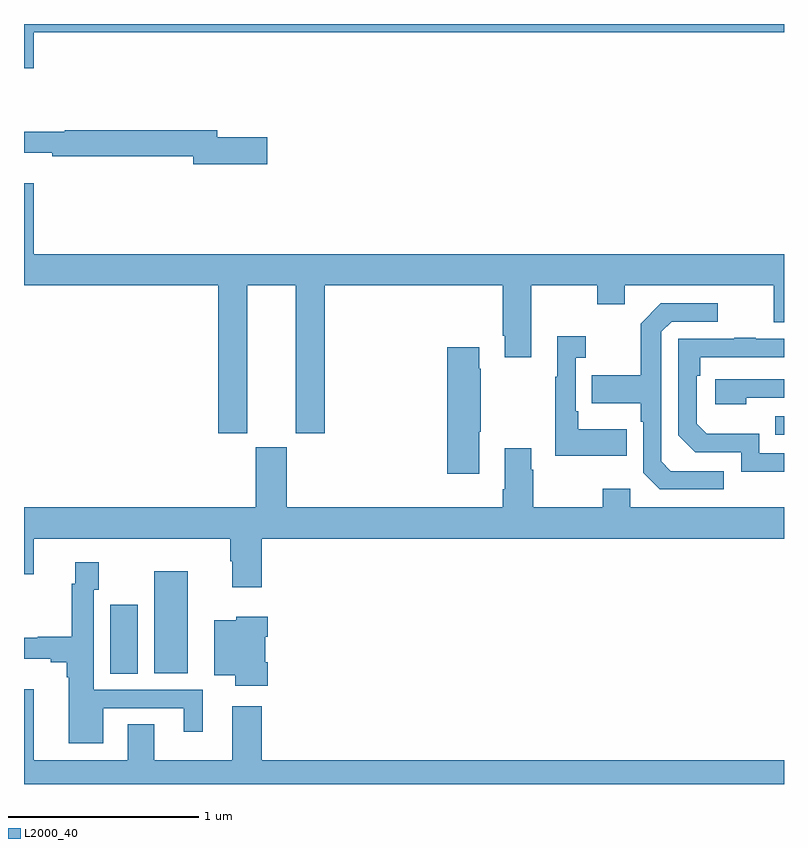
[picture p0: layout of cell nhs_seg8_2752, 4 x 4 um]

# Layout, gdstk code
import gdstk
lib = gdstk.Library(unit=1e-6, precision=1e-09)
def R(c, l, rs):  # rectangles x0, y0, x1, y1
    for r in rs: c.add(gdstk.rectangle(r[:2], r[2:], *l))
def P(c, l, *ps):  # polygons
    for p in ps: c.add(gdstk.Polygon(p, *l))
L2000_40 = (2000, 40)

nhs_seg8_2752 = lib.new_cell('nhs_seg8_2752')
R(nhs_seg8_2752, L2000_40, [(285.455,1090.48,285.598,1090.843), (285.686,1090.484,285.862,1091.02), (288.955,1091.739,289,1091.835)])
P(nhs_seg8_2752, L2000_40, [(285.052,1093.856),(289,1093.856),(289,1093.9),(285,1093.9),(285,1093.668),(285.052,1093.668)],
  [(286.279,1093.304),(286.018,1093.304),(286.018,1093.34),(285.214,1093.34),(285.214,1093.333),(285,1093.333),(285,1093.223),(285.148,1093.223),(285.148,1093.204),(285.89,1093.204),(285.89,1093.162),(286.279,1093.162)],
  [(286.174,1092.524),(286.43,1092.524),(286.43,1091.745),(286.583,1091.745),(286.583,1092.524),(287.519,1092.524),(287.519,1092.259),(287.531,1092.259),(287.531,1092.147),(287.671,1092.147),(287.671,1092.524),(288.016,1092.524),(288.016,1092.425),(288.163,1092.425),(288.163,1092.524),(288.947,1092.524),(288.947,1092.33),(289,1092.33),(289,1092.688),(285.052,1092.688),(285.052,1093.063),(285,1093.063),(285,1092.524),(286.022,1092.524),(286.022,1091.745),(286.174,1091.745)],
  [(288.682,1091.547),(288.405,1091.547),(288.354,1091.598),(288.354,1092.279),(288.408,1092.333),(288.652,1092.333),(288.652,1092.429),(288.351,1092.429),(288.246,1092.323),(288.246,1092.051),(287.989,1092.051),(287.989,1091.903),(288.246,1091.903),(288.246,1091.807),(288.258,1091.807),(288.258,1091.538),(288.345,1091.451),(288.682,1091.451)],
  [(288.173,1091.767),(287.917,1091.767),(287.917,1091.863),(287.904,1091.863),(287.904,1092.143),(287.956,1092.143),(287.956,1092.256),(287.807,1092.256),(287.807,1092.043),(287.796,1092.043),(287.796,1091.627),(288.173,1091.627)],
  [(289,1091.64),(288.87,1091.64),(288.87,1091.743),(288.593,1091.743),(288.54,1091.796),(288.54,1092.05),(288.56,1092.05),(288.56,1092.147),(289,1092.147),(289,1092.243),(288.851,1092.243),(288.851,1092.248),(288.739,1092.248),(288.739,1092.243),(288.444,1092.243),(288.444,1091.736),(288.534,1091.646),(288.774,1091.646),(288.774,1091.544),(289,1091.544)],
  [(287.395,1091.755),(287.403,1091.755),(287.403,1092.086),(287.395,1092.086),(287.395,1092.199),(287.228,1092.199),(287.228,1091.532),(287.395,1091.532)],
  [(288.8,1091.934),(289,1091.934),(289,1092.03),(288.639,1092.03),(288.639,1091.9),(288.8,1091.9)],
  [(285,1091.004),(285.052,1091.004),(285.052,1091.192),(286.085,1091.192),(286.085,1091.072),(286.097,1091.072),(286.097,1090.935),(286.25,1090.935),(286.25,1091.192),(289,1091.192),(289,1091.356),(288.192,1091.356),(288.192,1091.455),(288.046,1091.455),(288.046,1091.356),(287.679,1091.356),(287.679,1091.555),(287.671,1091.555),(287.671,1091.668),(287.531,1091.668),(287.531,1091.452),(287.519,1091.452),(287.519,1091.356),(286.384,1091.356),(286.384,1091.673),(286.22,1091.673),(286.22,1091.356),(285,1091.356)],
  [(285.418,1090.299),(285.842,1090.299),(285.842,1090.176),(285.94,1090.176),(285.94,1090.395),(285.366,1090.395),(285.366,1090.923),(285.393,1090.923),(285.393,1091.068),(285.27,1091.068),(285.27,1090.955),(285.25,1090.955),(285.25,1090.676),(285.073,1090.676),(285.073,1090.669),(285,1090.669),(285,1090.559),(285.14,1090.559),(285.14,1090.54),(285.224,1090.54),(285.224,1090.463),(285.236,1090.463),(285.236,1090.115),(285.418,1090.115)],
  [(286.283,1090.54),(286.27,1090.54),(286.27,1090.676),(286.283,1090.676),(286.283,1090.78),(286.116,1090.78),(286.116,1090.762),(286.001,1090.762),(286.001,1090.472),(286.112,1090.472),(286.112,1090.418),(286.283,1090.418)],
  [(289,1090.024),(286.25,1090.024),(286.25,1090.309),(286.097,1090.309),(286.097,1090.024),(285.685,1090.024),(285.685,1090.214),(285.545,1090.214),(285.545,1090.024),(285.052,1090.024),(285.052,1090.399),(285,1090.399),(285,1089.9),(289,1089.9)])

lib.write_gds('nhs_seg8_2752.gds')
